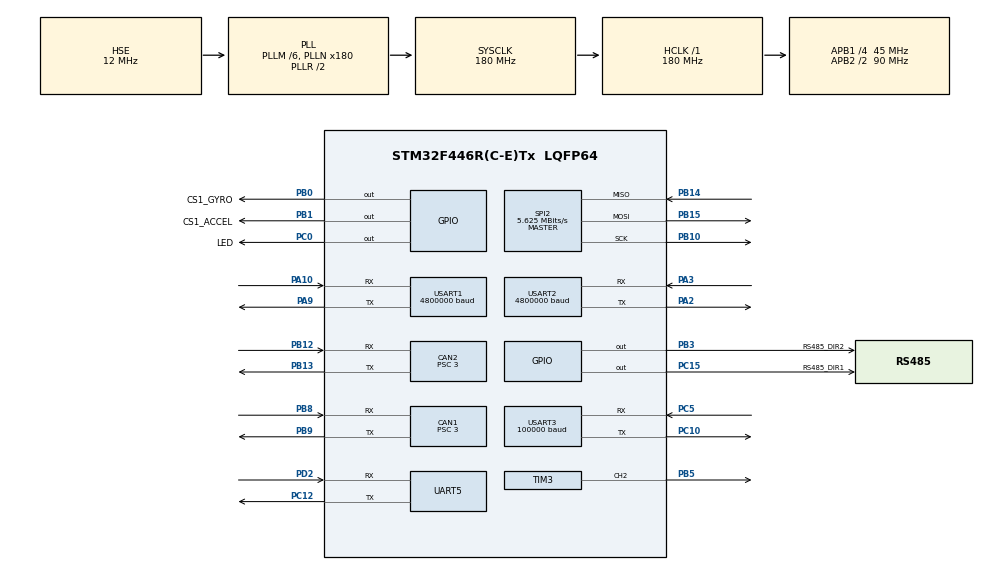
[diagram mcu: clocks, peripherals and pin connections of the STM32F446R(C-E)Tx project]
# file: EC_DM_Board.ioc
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CAN1.ABOM=DISABLE
CAN1.AWUM=DISABLE
CAN1.BS1=CAN_BS1_12TQ
CAN1.BS2=CAN_BS2_2TQ
CAN1.CalculateBaudRate=1000000
CAN1.CalculateTimeBit=1000
CAN1.CalculateTimeQuantum=66.66666666666666
CAN1.NART=DISABLE
CAN1.Prescaler=3
CAN1.TTCM=DISABLE
CAN1.TXFP=DISABLE
CAN2.ABOM=DISABLE
CAN2.AWUM=DISABLE
CAN2.BS1=CAN_BS1_12TQ
CAN2.BS2=CAN_BS2_2TQ
CAN2.CalculateBaudRate=1000000
CAN2.CalculateTimeBit=1000
CAN2.CalculateTimeQuantum=66.66666666666666
CAN2.NART=DISABLE
CAN2.Prescaler=3
CAN2.TTCM=DISABLE
CAN2.TXFP=DISABLE
Dma.Request0=USART3_RX
Dma.Request1=USART1_RX
Dma.Request2=USART2_RX
Dma.Request3=UART5_RX
Dma.Request4=UART5_TX
Dma.Request5=USART1_TX
Dma.Request6=USART2_TX
Dma.UART5_RX.3.Direction=DMA_PERIPH_TO_MEMORY
Dma.UART5_RX.3.FIFOMode=DMA_FIFOMODE_DISABLE
Dma.UART5_RX.3.Instance=DMA1_Stream0
Dma.UART5_RX.3.MemDataAlignment=DMA_MDATAALIGN_BYTE
Dma.UART5_RX.3.MemInc=DMA_MINC_ENABLE
Dma.UART5_RX.3.Mode=DMA_NORMAL
Dma.UART5_RX.3.PeriphDataAlignment=DMA_PDATAALIGN_BYTE
Dma.UART5_RX.3.PeriphInc=DMA_PINC_DISABLE
Dma.UART5_RX.3.Priority=DMA_PRIORITY_MEDIUM
Dma.UART5_TX.4.Direction=DMA_MEMORY_TO_PERIPH
Dma.UART5_TX.4.FIFOMode=DMA_FIFOMODE_DISABLE
Dma.UART5_TX.4.Instance=DMA1_Stream7
Dma.UART5_TX.4.MemDataAlignment=DMA_MDATAALIGN_BYTE
Dma.UART5_TX.4.MemInc=DMA_MINC_ENABLE
Dma.UART5_TX.4.Mode=DMA_NORMAL
Dma.UART5_TX.4.PeriphDataAlignment=DMA_PDATAALIGN_BYTE
Dma.UART5_TX.4.PeriphInc=DMA_PINC_DISABLE
Dma.UART5_TX.4.Priority=DMA_PRIORITY_MEDIUM
Dma.USART1_RX.1.Direction=DMA_PERIPH_TO_MEMORY
Dma.USART1_RX.1.FIFOMode=DMA_FIFOMODE_DISABLE
Dma.USART1_RX.1.Instance=DMA2_Stream2
Dma.USART1_RX.1.MemDataAlignment=DMA_MDATAALIGN_BYTE
Dma.USART1_RX.1.MemInc=DMA_MINC_ENABLE
Dma.USART1_RX.1.Mode=DMA_NORMAL
Dma.USART1_RX.1.PeriphDataAlignment=DMA_PDATAALIGN_BYTE
Dma.USART1_RX.1.PeriphInc=DMA_PINC_DISABLE
Dma.USART1_RX.1.Priority=DMA_PRIORITY_HIGH
Dma.USART1_TX.5.Direction=DMA_MEMORY_TO_PERIPH
Dma.USART1_TX.5.FIFOMode=DMA_FIFOMODE_DISABLE
Dma.USART1_TX.5.Instance=DMA2_Stream7
Dma.USART1_TX.5.MemDataAlignment=DMA_MDATAALIGN_BYTE
Dma.USART1_TX.5.MemInc=DMA_MINC_ENABLE
Dma.USART1_TX.5.Mode=DMA_NORMAL
Dma.USART1_TX.5.PeriphDataAlignment=DMA_PDATAALIGN_BYTE
Dma.USART1_TX.5.PeriphInc=DMA_PINC_DISABLE
Dma.USART1_TX.5.Priority=DMA_PRIORITY_HIGH
Dma.USART2_RX.2.Direction=DMA_PERIPH_TO_MEMORY
Dma.USART2_RX.2.FIFOMode=DMA_FIFOMODE_DISABLE
Dma.USART2_RX.2.Instance=DMA1_Stream5
Dma.USART2_RX.2.MemDataAlignment=DMA_MDATAALIGN_BYTE
Dma.USART2_RX.2.MemInc=DMA_MINC_ENABLE
Dma.USART2_RX.2.Mode=DMA_NORMAL
Dma.USART2_RX.2.PeriphDataAlignment=DMA_PDATAALIGN_BYTE
Dma.USART2_RX.2.PeriphInc=DMA_PINC_DISABLE
Dma.USART2_RX.2.Priority=DMA_PRIORITY_HIGH
Dma.USART2_TX.6.Direction=DMA_MEMORY_TO_PERIPH
Dma.USART2_TX.6.FIFOMode=DMA_FIFOMODE_DISABLE
Dma.USART2_TX.6.Instance=DMA1_Stream6
Dma.USART2_TX.6.MemDataAlignment=DMA_MDATAALIGN_BYTE
Dma.USART2_TX.6.MemInc=DMA_MINC_ENABLE
Dma.USART2_TX.6.Mode=DMA_NORMAL
Dma.USART2_TX.6.PeriphDataAlignment=DMA_PDATAALIGN_BYTE
Dma.USART2_TX.6.PeriphInc=DMA_PINC_DISABLE
Dma.USART2_TX.6.Priority=DMA_PRIORITY_HIGH
Dma.USART3_RX.0.Direction=DMA_PERIPH_TO_MEMORY
Dma.USART3_RX.0.FIFOMode=DMA_FIFOMODE_DISABLE
Dma.USART3_RX.0.Instance=DMA1_Stream1
Dma.USART3_RX.0.MemDataAlignment=DMA_MDATAALIGN_BYTE
Dma.USART3_RX.0.MemInc=DMA_MINC_ENABLE
Dma.USART3_RX.0.Mode=DMA_NORMAL
Dma.USART3_RX.0.PeriphDataAlignment=DMA_PDATAALIGN_BYTE
Dma.USART3_RX.0.PeriphInc=DMA_PINC_DISABLE
Dma.USART3_RX.0.Priority=DMA_PRIORITY_MEDIUM
FREERTOS.Tasks01=defaultTask,0,128,StartDefaultTask,Default,NULL,Dynamic,NULL,NULL;insTask,3,256,StartInsTask,Default,NULL,Dynamic,NULL,NULL;wheelMotorTask,2,128,StartWheelMotorTask,Default,NULL,Dynamic,NULL,NULL;chassisTask,1,128,StartChassisTask,Default,NULL,Dynamic,NULL,NULL;legMotorTask,3,128,StartLegMotorTask,Default,NULL,Dynamic,NULL,NULL;ctrlcommTask,0,128,StartCtrlCommTask,Default,NULL,Dynamic,NULL,NULL;capTask,1,128,StartCapTask,Default,NULL,Dynamic,NULL,NULL;refereecommTask,0,256,StartRefereeTask,Default,NULL,Dynamic,NULL,NULL
FREERTOS.configENABLE_FPU=1
FREERTOS.configTOTAL_HEAP_SIZE=15360
FREERTOS.configUSE_NEWLIB_REENTRANT=1
Mcu.Family=STM32F4
Mcu.Name=STM32F446R(C-E)Tx
Mcu.Package=LQFP64
NVIC.CAN1_RX0_IRQn=true\:5\:0\:true\:false\:true\:true\:true\:true\:true
NVIC.CAN2_RX0_IRQn=true\:5\:0\:true\:false\:true\:true\:true\:true\:true
NVIC.DMA1_Stream0_IRQn=true\:5\:0\:true\:false\:true\:true\:false\:true\:true
NVIC.DMA1_Stream1_IRQn=true\:5\:0\:true\:false\:true\:true\:false\:true\:true
NVIC.DMA1_Stream5_IRQn=true\:5\:0\:true\:false\:true\:true\:false\:true\:true
NVIC.DMA1_Stream6_IRQn=true\:5\:0\:false\:false\:true\:true\:false\:true\:true
NVIC.DMA1_Stream7_IRQn=true\:5\:0\:true\:false\:true\:true\:false\:true\:true
NVIC.DMA2_Stream2_IRQn=true\:5\:0\:true\:false\:true\:true\:false\:true\:true
NVIC.DMA2_Stream7_IRQn=true\:5\:0\:false\:false\:true\:true\:false\:true\:true
NVIC.PriorityGroup=NVIC_PRIORITYGROUP_4
NVIC.TIM8_TRG_COM_TIM14_IRQn=true\:15\:0\:false\:false\:true\:false\:false\:true\:true
NVIC.TimeBase=TIM8_TRG_COM_TIM14_IRQn
NVIC.TimeBaseIP=TIM14
NVIC.UART5_IRQn=true\:5\:0\:true\:false\:true\:true\:true\:true\:true
NVIC.USART1_IRQn=true\:5\:0\:false\:false\:true\:true\:true\:true\:true
NVIC.USART2_IRQn=true\:5\:0\:false\:false\:true\:true\:true\:true\:true
NVIC.USART3_IRQn=true\:5\:0\:true\:false\:true\:true\:true\:true\:true
PA10.Mode=Asynchronous
PA10.Signal=USART1_RX
PA13.Mode=Serial_Wire
PA13.Signal=SYS_JTMS-SWDIO
PA14.Mode=Serial_Wire
PA14.Signal=SYS_JTCK-SWCLK
PA2.Mode=Asynchronous
PA2.Signal=USART2_TX
PA3.Mode=Asynchronous
PA3.Signal=USART2_RX
PA9.Mode=Asynchronous
PA9.Signal=USART1_TX
PB0.GPIO_Label=CS1_GYRO
PB0.GPIO_PuPd=GPIO_PULLUP
PB0.GPIO_Speed=GPIO_SPEED_FREQ_HIGH
PB0.PinState=GPIO_PIN_SET
PB0.Signal=GPIO_Output
PB1.GPIO_Label=CS1_ACCEL
PB1.GPIO_PuPd=GPIO_PULLUP
PB1.GPIO_Speed=GPIO_SPEED_FREQ_HIGH
PB1.PinState=GPIO_PIN_SET
PB1.Signal=GPIO_Output
PB10.Mode=Full_Duplex_Master
PB10.Signal=SPI2_SCK
PB12.Mode=CAN_Activate
PB12.Signal=CAN2_RX
PB13.Mode=CAN_Activate
PB13.Signal=CAN2_TX
PB14.Mode=Full_Duplex_Master
PB14.Signal=SPI2_MISO
PB15.Mode=Full_Duplex_Master
PB15.Signal=SPI2_MOSI
PB3.GPIO_Label=RS485_DIR2
PB3.GPIO_PuPd=GPIO_PULLUP
PB3.Signal=GPIO_Output
PB5.Signal=S_TIM3_CH2
PB8.Mode=CAN_Activate
PB8.Signal=CAN1_RX
PB9.Mode=CAN_Activate
PB9.Signal=CAN1_TX
PC0.GPIO_Label=LED
PC0.GPIO_ModeDefaultOutputPP=GPIO_MODE_OUTPUT_PP
PC0.GPIO_PuPd=GPIO_PULLUP
PC0.PinState=GPIO_PIN_SET
PC0.Signal=GPIO_Output
PC10.Mode=Asynchronous
PC10.Signal=USART3_TX
PC12.Mode=Asynchronous
PC12.Signal=UART5_TX
PC15-OSC32_OUT.GPIO_Label=RS485_DIR1
PC15-OSC32_OUT.GPIO_PuPd=GPIO_PULLUP
PC15-OSC32_OUT.Signal=GPIO_Output
PC5.Mode=Asynchronous
PC5.Signal=USART3_RX
PD2.Mode=Asynchronous
PD2.Signal=UART5_RX
PH0-OSC_IN.Mode=HSE-External-Oscillator
PH0-OSC_IN.Signal=RCC_OSC_IN
PH1-OSC_OUT.Mode=HSE-External-Oscillator
PH1-OSC_OUT.Signal=RCC_OSC_OUT
ProjectManager.HeapSize=0x4000
ProjectManager.StackSize=0x4000
ProjectManager.TargetToolchain=STM32CubeIDE
RCC.AHBFreq_Value=180000000
RCC.APB1CLKDivider=RCC_HCLK_DIV4
RCC.APB1Freq_Value=45000000
RCC.APB1TimFreq_Value=90000000
RCC.APB2CLKDivider=RCC_HCLK_DIV2
RCC.APB2Freq_Value=90000000
RCC.APB2TimFreq_Value=180000000
RCC.CortexFreq_Value=180000000
RCC.HCLKFreq_Value=180000000
RCC.HSE_VALUE=12000000
RCC.PLLM=6
RCC.PLLN=180
RCC.PLLQ=7
RCC.PLLSourceVirtual=RCC_PLLSOURCE_HSE
RCC.SYSCLKFreq_VALUE=180000000
RCC.SYSCLKSource=RCC_SYSCLKSOURCE_PLLRCLK
RCC.USBFreq_Value=51428571.428571425
RCC.VCOOutputFreq_Value=360000000
SH.S_TIM3_CH2.0=TIM3_CH2,PWM Generation2 CH2
SPI2.BaudRatePrescaler=SPI_BAUDRATEPRESCALER_8
SPI2.CLKPhase=SPI_PHASE_2EDGE
SPI2.CLKPolarity=SPI_POLARITY_HIGH
SPI2.CalculateBaudRate=5.625 MBits/s
SPI2.Direction=SPI_DIRECTION_2LINES
SPI2.Mode=SPI_MODE_MASTER
SPI2.VirtualType=VM_MASTER
STMicroelectronics.X-CUBE-ALGOBUILD.1.3.0.LibraryCcDSPOoLibraryJjDSPOoLibrary=true
TIM3.Channel-PWM\ Generation2\ CH2=TIM_CHANNEL_2
TIM3.Period=2000-1
TIM3.Prescaler=84-1
UART5.VirtualMode=Asynchronous
USART1.BaudRate=4800000
USART1.OverSampling=UART_OVERSAMPLING_16
USART1.VirtualMode=VM_ASYNC
USART2.BaudRate=4800000
USART2.OverSampling=UART_OVERSAMPLING_8
USART2.VirtualMode=VM_ASYNC
USART3.BaudRate=100000
USART3.Mode=MODE_RX
USART3.VirtualMode=VM_ASYNC
USART3.WordLength=WORDLENGTH_9B
VP_CRC_VS_CRC.Mode=CRC_Activate
VP_FREERTOS_VS_CMSIS_V1.Mode=CMSIS_V1
VP_STMicroelectronics.X-CUBE-ALGOBUILD_VS_DSPOoLibraryJjLibrary_1.3.0_1.3.0.Mode=DSPOoLibraryJjLibrary
VP_SYS_VS_tim14.Mode=TIM14
board=custom

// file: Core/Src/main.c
/* USER CODE BEGIN Header */
/**
 ******************************************************************************
 * @file           : main.c
 * @brief          : Main program body
 ******************************************************************************
 * @attention
 *
 * Copyright (c) 2023 STMicroelectronics.
 * All rights reserved.
 *
 * This software is licensed under terms that can be found in the LICENSE file
 * in the root directory of this software component.
 * If no LICENSE file comes with this software, it is provided AS-IS.
 *
 ******************************************************************************
 */
/* USER CODE END Header */
#include "main.h"
#include "cmsis_os.h"
#include "can.h"
#include "crc.h"
#include "dma.h"
#include "spi.h"
#include "tim.h"
#include "usart.h"
#include "gpio.h"

/* USER CODE BEGIN Includes */
#include "bmi088_driver.h"
#include "bsp_dwt.h"
#include "infantry_chassis.h"
#include "remote.h"
/* USER CODE END Includes */

void SystemClock_Config(void);
void MX_FREERTOS_Init(void);

int main(void)
{

  /* MCU Configuration--------------------------------------------------------*/

  /* Reset of all peripherals, Initializes the Flash interface and the Systick. */
  HAL_Init();

  /* Configure the system clock */
  SystemClock_Config();

  /* Initialize all configured peripherals */
  MX_GPIO_Init();
  MX_DMA_Init();
  MX_USART1_UART_Init();
  MX_USART2_UART_Init();
  MX_TIM3_Init();
  MX_USART3_UART_Init();
  MX_SPI2_Init();
  MX_CAN1_Init();
  MX_CAN2_Init();
  MX_UART5_Init();
  MX_CRC_Init();
  /* USER CODE BEGIN 2 */
  DWT_Init(180);
  while (BMI088_init(&hspi2, 1) != BMI088_NO_ERROR)
    ;
  ChassisMotorInit();
  /* USER CODE END 2 */

  /* Call init function for freertos objects (in freertos.c) */
  MX_FREERTOS_Init();

  /* Start scheduler */
  osKernelStart();

  /* We should never get here as control is now taken by the scheduler */
  /* Infinite loop */
  while (1) {

  }
}

void SystemClock_Config(void)
{
  RCC_OscInitTypeDef RCC_OscInitStruct = {0};
  RCC_ClkInitTypeDef RCC_ClkInitStruct = {0};

  /** Configure the main internal regulator output voltage
  */
  __HAL_RCC_PWR_CLK_ENABLE();
  __HAL_PWR_VOLTAGESCALING_CONFIG(PWR_REGULATOR_VOLTAGE_SCALE1);

  /** Initializes the RCC Oscillators according to the specified parameters
  * in the RCC_OscInitTypeDef structure.
  */
  RCC_OscInitStruct.OscillatorType = RCC_OSCILLATORTYPE_HSE;
  RCC_OscInitStruct.HSEState = RCC_HSE_ON;
  RCC_OscInitStruct.PLL.PLLState = RCC_PLL_ON;
  RCC_OscInitStruct.PLL.PLLSource = RCC_PLLSOURCE_HSE;
  RCC_OscInitStruct.PLL.PLLM = 6;
  RCC_OscInitStruct.PLL.PLLN = 180;
  RCC_OscInitStruct.PLL.PLLP = RCC_PLLP_DIV2;
  RCC_OscInitStruct.PLL.PLLQ = 7;
  RCC_OscInitStruct.PLL.PLLR = 2;
  if (HAL_RCC_OscConfig(&RCC_OscInitStruct) != HAL_OK)
  {
    Error_Handler();
  }

  /** Activate the Over-Drive mode
  */
  if (HAL_PWREx_EnableOverDrive() != HAL_OK)
  {
    Error_Handler();
  }

  /** Initializes the CPU, AHB and APB buses clocks
  */
  RCC_ClkInitStruct.ClockType = RCC_CLOCKTYPE_HCLK|RCC_CLOCKTYPE_SYSCLK
                              |RCC_CLOCKTYPE_PCLK1|RCC_CLOCKTYPE_PCLK2;
  RCC_ClkInitStruct.SYSCLKSource = RCC_SYSCLKSOURCE_PLLRCLK;
  RCC_ClkInitStruct.AHBCLKDivider = RCC_SYSCLK_DIV1;
  RCC_ClkInitStruct.APB1CLKDivider = RCC_HCLK_DIV4;
  RCC_ClkInitStruct.APB2CLKDivider = RCC_HCLK_DIV2;

  if (HAL_RCC_ClockConfig(&RCC_ClkInitStruct, FLASH_LATENCY_5) != HAL_OK)
  {
    Error_Handler();
  }
}

void HAL_TIM_PeriodElapsedCallback(TIM_HandleTypeDef *htim)
{
  if (htim->Instance == TIM14) {
    HAL_IncTick();
  }
}

void Error_Handler(void)
{
  __disable_irq();
  while (1) {
  }
}

#ifdef  USE_FULL_ASSERT
/**
  * @brief  Reports the name of the source file and the source line number
  *         where the assert_param error has occurred.
  * @param  file: pointer to the source file name
  * @param  line: assert_param error line source number
  * @retval None
  */
void assert_failed(uint8_t *file, uint32_t line)
{
  /* USER CODE BEGIN 6 */
  /* User can add his own implementation to report the file name and line
     number, ex: printf("Wrong parameters value: file %s on line %d\r\n", file,
     line) */
  /* USER CODE END 6 */
}
#endif /* USE_FULL_ASSERT */

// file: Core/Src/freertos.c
/* USER CODE BEGIN Header */
/**
 ******************************************************************************
 * File Name          : freertos.c
 * Description        : Code for freertos applications
 ******************************************************************************
 * @attention
 *
 * Copyright (c) 2023 STMicroelectronics.
 * All rights reserved.
 *
 * This software is licensed under terms that can be found in the LICENSE file
 * in the root directory of this software component.
 * If no LICENSE file comes with this software, it is provided AS-IS.
 *
 ******************************************************************************
 */
/* USER CODE END Header */

#include "FreeRTOS.h"
#include "task.h"
#include "main.h"
#include "cmsis_os.h"

/* USER CODE BEGIN Includes */
#include "bsp_dwt.h"
#include "infantry_chassis.h"
#include "ins.h"
/* USER CODE END Includes */

osThreadId defaultTaskHandle;
osThreadId insTaskHandle;
osThreadId wheelMotorTaskHandle;
osThreadId chassisTaskHandle;
osThreadId legMotorTaskHandle;
osThreadId ctrlcommTaskHandle;
osThreadId capTaskHandle;
osThreadId refereecommTaskHandle;

void StartDefaultTask(void const * argument);
void StartInsTask(void const * argument);
void StartWheelMotorTask(void const * argument);
void StartChassisTask(void const * argument);
void StartLegMotorTask(void const * argument);
void StartCtrlCommTask(void const * argument);
void StartCapTask(void const * argument);
void StartRefereeTask(void const * argument);

void MX_FREERTOS_Init(void); /* (MISRA C 2004 rule 8.1) */

/* GetIdleTaskMemory prototype (linked to static allocation support) */
void vApplicationGetIdleTaskMemory( StaticTask_t **ppxIdleTaskTCBBuffer, StackType_t **ppxIdleTaskStackBuffer, uint32_t *pulIdleTaskStackSize );

/* USER CODE BEGIN GET_IDLE_TASK_MEMORY */
static StaticTask_t xIdleTaskTCBBuffer;
static StackType_t xIdleStack[configMINIMAL_STACK_SIZE];

void vApplicationGetIdleTaskMemory(StaticTask_t** ppxIdleTaskTCBBuffer,
                                   StackType_t** ppxIdleTaskStackBuffer,
                                   uint32_t* pulIdleTaskStackSize) {
  *ppxIdleTaskTCBBuffer = &xIdleTaskTCBBuffer;
  *ppxIdleTaskStackBuffer = &xIdleStack[0];
  *pulIdleTaskStackSize = configMINIMAL_STACK_SIZE;
  /* place for user code */
}
/* USER CODE END GET_IDLE_TASK_MEMORY */

void MX_FREERTOS_Init(void) {

  /* Create the thread(s) */
  /* definition and creation of defaultTask */
  osThreadDef(defaultTask, StartDefaultTask, osPriorityNormal, 0, 128);
  defaultTaskHandle = osThreadCreate(osThread(defaultTask), NULL);

  /* definition and creation of insTask */
  osThreadDef(insTask, StartInsTask, osPriorityRealtime, 0, 256);
  insTaskHandle = osThreadCreate(osThread(insTask), NULL);

  /* definition and creation of wheelMotorTask */
  osThreadDef(wheelMotorTask, StartWheelMotorTask, osPriorityHigh, 0, 128);
  wheelMotorTaskHandle = osThreadCreate(osThread(wheelMotorTask), NULL);

  /* definition and creation of chassisTask */
  osThreadDef(chassisTask, StartChassisTask, osPriorityAboveNormal, 0, 128);
  chassisTaskHandle = osThreadCreate(osThread(chassisTask), NULL);

  /* definition and creation of legMotorTask */
  osThreadDef(legMotorTask, StartLegMotorTask, osPriorityRealtime, 0, 128);
  legMotorTaskHandle = osThreadCreate(osThread(legMotorTask), NULL);

  /* definition and creation of ctrlcommTask */
  osThreadDef(ctrlcommTask, StartCtrlCommTask, osPriorityNormal, 0, 128);
  ctrlcommTaskHandle = osThreadCreate(osThread(ctrlcommTask), NULL);

  /* definition and creation of capTask */
  osThreadDef(capTask, StartCapTask, osPriorityRealtime, 0, 128);
  capTaskHandle = osThreadCreate(osThread(capTask), NULL);

  /* definition and creation of refereecommTask */
  osThreadDef(refereecommTask, StartRefereeTask, osPriorityNormal, 0, 256);
  refereecommTaskHandle = osThreadCreate(osThread(refereecommTask), NULL);

}

void StartDefaultTask(void const * argument)
{
  /* USER CODE BEGIN StartDefaultTask */
  /* Infinite loop */
  for (;;) {
    HAL_GPIO_TogglePin(LED_GPIO_Port, LED_Pin);
    osDelay(100);
  }
  /* USER CODE END StartDefaultTask */
}

void StartInsTask(void const * argument)
{
  /* USER CODE BEGIN StartInsTask */
  static float ins_start;
  static float ins_dt;
  INS_Init();
  /* Infinite loop */
  for (;;) {
    ins_start = DWT_GetTimeline_ms();
    INS_Task();
    ins_dt = DWT_GetTimeline_ms() - ins_start;
    osDelay(1);
  }
  /* USER CODE END StartInsTask */
}

void StartWheelMotorTask(void const * argument)
{
  /* USER CODE BEGIN StartWheelMotorTask */
  static float wheel_start;
  static float wheel_dt;

  /* Infinite loop */
  for (;;) {
    wheel_start = DWT_GetTimeline_ms();
    WheelMotorTask();
    wheel_dt = DWT_GetTimeline_ms() - wheel_start;
    osDelay(1);
  }
  /* USER CODE END StartWheelMotorTask */
}

void StartChassisTask(void const * argument)
{
  /* USER CODE BEGIN StartChassisTask */
  static float chassis_start;
  static float chassis_dt;

  /* Infinite loop */
  for (;;) {
    chassis_start = DWT_GetTimeline_ms();
    ChassisCalcTask();
    chassis_dt = DWT_GetTimeline_ms() - chassis_start;
    osDelay(1);
  }
  /* USER CODE END StartChassisTask */
}

void StartLegMotorTask(void const * argument)
{
  /* USER CODE BEGIN StartLegMotorTask */
  static float leg_start;
  static float leg_dt;

  /* Infinite loop */
  for (;;) {
    leg_start = DWT_GetTimeline_ms();
    UnitreeMotorTask();
    leg_dt = DWT_GetTimeline_ms() - leg_start;
    osDelay(1);
  }
  /* USER CODE END StartLegMotorTask */
}

void StartCtrlCommTask(void const * argument)
{
  /* USER CODE BEGIN StartCtrlCommTask */
  static float ctrl_start;
  static float ctrl_dt;

  /* Infinite loop */
  for (;;) {
    ctrl_start = DWT_GetTimeline_ms();
    CtrlCommTask();
    ctrl_dt = DWT_GetTimeline_ms() - ctrl_start;
    osDelay(5);
  }
  /* USER CODE END StartCtrlCommTask */
}

void StartCapTask(void const * argument)
{
  /* USER CODE BEGIN StartCapTask */
  static float cap_start;
  static float cap_dt;

  /* Infinite loop */
  for(;;)
  {
    cap_start = DWT_GetTimeline_ms();
    CapTask();
    cap_dt = DWT_GetTimeline_ms() - cap_start;
    osDelay(10);
  }
  /* USER CODE END StartCapTask */
}

void StartRefereeTask(void const * argument)
{
  /* USER CODE BEGIN StartRefereeTask */
  /* Infinite loop */
  for(;;)
  {
    UITask();
  }
  /* USER CODE END StartRefereeTask */
}
